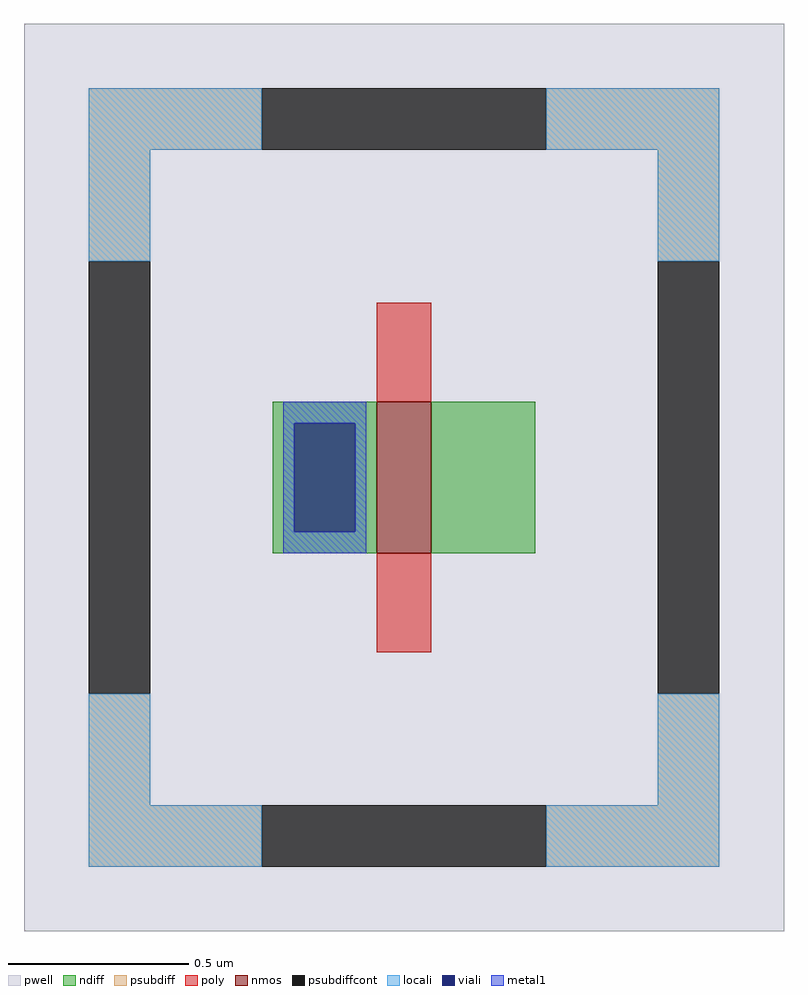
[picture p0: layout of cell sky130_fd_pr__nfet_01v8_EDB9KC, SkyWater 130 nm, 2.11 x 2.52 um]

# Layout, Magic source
magic
tech sky130A
magscale 1 2
<< pwell >>
rect -211 -252 211 252
<< nmos >>
rect -15 -42 15 42
<< ndiff >>
rect -73 -42 -15 42
rect 15 -42 73 42
<< psubdiff >>
rect -175 182 -79 216
rect 79 182 175 216
rect -175 120 -141 182
rect 141 120 175 182
rect -175 -182 -141 -120
rect 141 -182 175 -120
rect -175 -216 -79 -182
rect 79 -216 175 -182
<< psubdiffcont >>
rect -79 182 79 216
rect -175 -120 -141 120
rect 141 -120 175 120
rect -79 -216 79 -182
<< poly >>
rect -15 42 15 97
rect -15 -97 15 -42
<< locali >>
rect -175 182 -79 216
rect 79 182 175 216
rect -175 120 -141 182
rect 141 120 175 182
rect -175 -182 -141 -120
rect 141 -182 175 -120
rect -175 -216 -79 -182
rect 79 -216 175 -182
<< viali >>
rect -61 -30 -27 30
<< metal1 >>
rect -67 30 -21 42
rect -67 -30 -61 30
rect -27 -30 -21 30
rect -67 -42 -21 -30
<< properties >>
string FIXED_BBOX -158 -199 158 199
string gencell sky130_fd_pr__nfet_01v8
string library sky130
string parameters w 0.420 l 0.150 m 1 nf 1 diffcov 100 polycov 100 guard 1 glc 1 grc 1 gtc 1 gbc 1 tbcov 100 rlcov 100 topc 1 botc 1 poverlap 0 doverlap 1 lmin 0.15 wmin 0.42 compatible {sky130_fd_pr__nfet_01v8 sky130_fd_pr__nfet_01v8_lvt  sky130_fd_bs_flash__special_sonosfet_star  sky130_fd_pr__nfet_g5v0d10v5 sky130_fd_pr__nfet_05v0_nvt  sky130_fd_pr__nfet_03v3_nvt} full_metal 1 viasrc 100 viadrn 100 viagate 100 viagb 0 viagr 0 viagl 0 viagt 0
<< end >>
